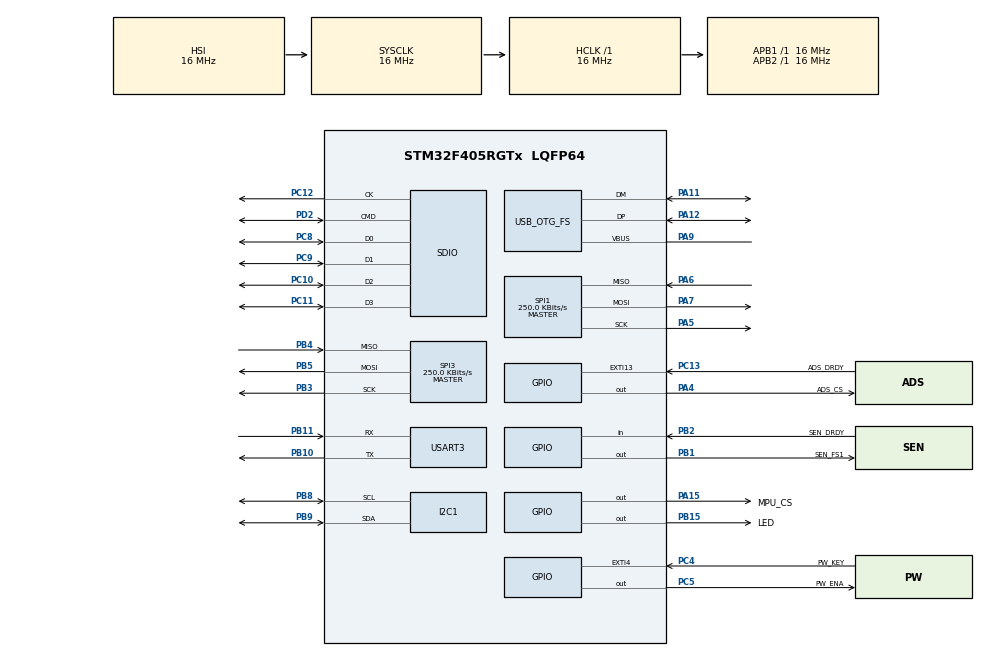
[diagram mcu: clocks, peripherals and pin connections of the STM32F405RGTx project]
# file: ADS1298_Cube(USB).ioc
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FATFS._USE_BUFF_WO_ALIGNMENT=2
FATFS._USE_ERASE=0
I2C1.DutyCycle=I2C_DUTYCYCLE_2
Mcu.Family=STM32F4
Mcu.Name=STM32F405RGTx
Mcu.Package=LQFP64
NVIC.EXTI15_10_IRQn=true\:0\:0\:false\:false\:true
NVIC.EXTI4_IRQn=true\:0\:0\:false\:false\:true
NVIC.OTG_FS_IRQn=true\:0\:0\:false\:false\:true
NVIC.PriorityGroup=NVIC_PRIORITYGROUP_4
PA11.Mode=Device_Only
PA11.Signal=USB_OTG_FS_DM
PA12.Mode=Device_Only
PA12.Signal=USB_OTG_FS_DP
PA15.GPIO_Label=MPU_CS
PA15.PinState=GPIO_PIN_SET
PA15.Signal=GPIO_Output
PA4.GPIO_Label=ADS_CS
PA4.PinState=GPIO_PIN_SET
PA4.Signal=GPIO_Output
PA5.Mode=Full_Duplex_Master
PA5.Signal=SPI1_SCK
PA6.Mode=Full_Duplex_Master
PA6.Signal=SPI1_MISO
PA7.Mode=Full_Duplex_Master
PA7.Signal=SPI1_MOSI
PA9.Mode=Activate_VBUS
PA9.Signal=USB_OTG_FS_VBUS
PB1.GPIO_Label=SEN_FS1
PB1.GPIO_PuPd=GPIO_PULLDOWN
PB1.Signal=GPIO_Output
PB10.Mode=Asynchronous
PB10.Signal=USART3_TX
PB11.Mode=Asynchronous
PB11.Signal=USART3_RX
PB15.GPIO_Label=LED
PB15.Signal=GPIO_Output
PB2.GPIO_Label=SEN_DRDY
PB2.Signal=GPIO_Input
PB3.Mode=Full_Duplex_Master
PB3.Signal=SPI3_SCK
PB4.Mode=Full_Duplex_Master
PB4.Signal=SPI3_MISO
PB5.Mode=Full_Duplex_Master
PB5.Signal=SPI3_MOSI
PB8.Mode=I2C
PB8.Signal=I2C1_SCL
PB9.Mode=I2C
PB9.Signal=I2C1_SDA
PC10.Mode=SD_4_bits_Wide_bus
PC10.Signal=SDIO_D2
PC11.Mode=SD_4_bits_Wide_bus
PC11.Signal=SDIO_D3
PC12.Mode=SD_4_bits_Wide_bus
PC12.Signal=SDIO_CK
PC13-ANTI_TAMP.GPIO_Label=ADS_DRDY
PC13-ANTI_TAMP.GPIO_PuPd=GPIO_PULLDOWN
PC13-ANTI_TAMP.Signal=GPXTI13
PC4.GPIO_Label=PW_KEY
PC4.Signal=GPXTI4
PC5.GPIO_Label=PW_ENA
PC5.PinState=GPIO_PIN_SET
PC5.Signal=GPIO_Output
PC8.Mode=SD_4_bits_Wide_bus
PC8.Signal=SDIO_D0
PC9.Mode=SD_4_bits_Wide_bus
PC9.Signal=SDIO_D1
PD2.Mode=SD_4_bits_Wide_bus
PD2.Signal=SDIO_CMD
PH0-OSC_IN.Mode=HSE-External-Oscillator
PH0-OSC_IN.Signal=RCC_OSC_IN
PH1-OSC_OUT.Mode=HSE-External-Oscillator
PH1-OSC_OUT.Signal=RCC_OSC_OUT
ProjectManager.HeapSize=0x200
ProjectManager.StackSize=0x400
ProjectManager.TargetToolchain=MDK-ARM V5
RCC.48MHZClocksFreq_Value=48000000
RCC.AHBCLKDivider=RCC_SYSCLK_DIV1
RCC.AHBFreq_Value=16000000
RCC.APB1CLKDivider=RCC_HCLK_DIV1
RCC.APB1Freq_Value=16000000
RCC.APB1TimFreq_Value=16000000
RCC.APB2CLKDivider=RCC_HCLK_DIV1
RCC.APB2Freq_Value=16000000
RCC.APB2TimFreq_Value=16000000
RCC.ClockTypeHCLK=RCC_CLOCKTYPE_HCLK
RCC.ClockTypePCLK1=RCC_CLOCKTYPE_PCLK1
RCC.ClockTypePCLK2=RCC_CLOCKTYPE_PCLK2
RCC.ClockTypeSysClk=RCC_CLOCKTYPE_SYSCLK
RCC.CortexFreq_Value=16000000
RCC.Cortex_Div=SYSTICK_CLKSOURCE_HCLK
RCC.DATA_CACHE_ENABLE=1
RCC.EnableExtClockForI2S=false
RCC.EnableHSE=true
RCC.EnableHSERTCDevisor=false
RCC.EnableLSE=false
RCC.EnableLSERTC=false
RCC.ExtClockEnable=false
RCC.FLatency=FLASH_LATENCY_0
RCC.HCLKFreq_Value=16000000
RCC.HSEState=RCC_HSE_ON
RCC.HSE_VALUE=16000000
RCC.HSIState=RCC_HSI_ON
RCC.HSI_VALUE=16000000
RCC.I2SEnable=false
RCC.INSTRUCTION_CACHE_ENABLE=1
RCC.IWDGEnable=false
RCC.LSE_VALUE=32768
RCC.LSIState=RCC_LSI_OFF
RCC.MCO1OutPutEnable=false
RCC.MCO2OutPutEnable=false
RCC.OscillatorTypeHSE=RCC_OSCILLATORTYPE_HSE
RCC.OscillatorTypeHSI=RCC_OSCILLATORTYPE_HSI
RCC.PLLM=8
RCC.PLLN=72
RCC.PLLP=RCC_PLLP_DIV2
RCC.PLLQ=3
RCC.PLLSource=RCC_PLLSOURCE_HSE
RCC.PLLSourceVirtual=RCC_PLLSOURCE_HSE
RCC.PLLState=RCC_PLL_ON
RCC.PREFETCH_ENABLE=1
RCC.PWR_Regulator_Voltage_Scale=PWR_REGULATOR_VOLTAGE_SCALE1
RCC.RCC_MCODiv1=RCC_MCODIV_1
RCC.RCC_MCODiv2=RCC_MCODIV_1
RCC.RCC_RTC_Clock_Source_FROM_HSE=RCC_RTCCLKSOURCE_HSE_DIV2
RCC.RNGEnable=false
RCC.RTCEnable=false
RCC.SDIOEnable=true
RCC.SYSCLKFreq_VALUE=16000000
RCC.SYSCLKSource=RCC_SYSCLKSOURCE_HSI
RCC.USBFSEnable=true
RCC.USBHSEnable=false
RCC.VCOOutputFreq_Value=144000000
SDIO.BusWide=SDIO_BUS_WIDE_1B
SDIO.ClockBypass=SDIO_CLOCK_BYPASS_DISABLE
SDIO.ClockDiv=12
SDIO.ClockEdge=SDIO_CLOCK_EDGE_RISING
SDIO.ClockPowerSave=SDIO_CLOCK_POWER_SAVE_DISABLE
SDIO.HardwareFlowControl=SDIO_HARDWARE_FLOW_CONTROL_DISABLE
SDIO.WideMode=SDIO_BUS_WIDE_4B
SPI1.BaudRatePrescaler=SPI_BAUDRATEPRESCALER_64
SPI1.CLKPhase=SPI_PHASE_2EDGE
SPI1.CRCPolynomial=10
SPI1.CalculateBaudRate=250.0 KBits/s
SPI1.Direction=SPI_DIRECTION_2LINES
SPI1.Mode=SPI_MODE_MASTER
SPI1.VirtualType=VM_MASTER
SPI3.BaudRatePrescaler=SPI_BAUDRATEPRESCALER_64
SPI3.CLKPhase=SPI_PHASE_1EDGE
SPI3.CRCPolynomial=10
SPI3.CalculateBaudRate=250.0 KBits/s
SPI3.Direction=SPI_DIRECTION_2LINES
SPI3.Mode=SPI_MODE_MASTER
SPI3.VirtualType=VM_MASTER
USART3.HwFlowCtl-Asynchronous=UART_HWCONTROL_NONE
USART3.VirtualMode=VM_ASYNC
USB_DEVICE.CLASS_NAME_FS=CDC
USB_DEVICE.MANUFACTURER_STRING-CDC_FS=GalvaniBionix
USB_DEVICE.PRODUCT_STRING_CDC_FS=ADS1298
USB_DEVICE.USBD_HandleTypeDef_FS=hUsbDevice_OTG_FS
USB_DEVICE.VirtualModeFS=Cdc_FS
USB_OTG_FS.VirtualMode=Device_Only
USB_OTG_FS.dev_endpoints=4
USB_OTG_FS.phy_itface=PCD_PHY_EMBEDDED
VP_FATFS_VS_SDIO.Mode=SDIO
VP_USB_DEVICE_VS_USB_DEVICE_CDC_FS.Mode=CDC_FS
board=ADS1298_Cube(USB)

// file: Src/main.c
/**
  ******************************************************************************
  * File Name          : main.c
  * Description        : Main program body
  ******************************************************************************
  *
  * Copyright (c) 2017 STMicroelectronics International N.V.
  * All rights reserved.
  *
  * Redistribution and use in source and binary forms, with or without
  * modification, are permitted, provided that the following conditions are met:
  *
  * 1. Redistribution of source code must retain the above copyright notice,
  *    this list of conditions and the following disclaimer.
  * 2. Redistributions in binary form must reproduce the above copyright notice,
  *    this list of conditions and the following disclaimer in the documentation
  *    and/or other materials provided with the distribution.
  * 3. Neither the name of STMicroelectronics nor the names of other
  *    contributors to this software may be used to endorse or promote products
  *    derived from this software without specific written permission.
  * 4. This software, including modifications and/or derivative works of this
  *    software, must execute solely and exclusively on microcontroller or
  *    microprocessor devices manufactured by or for STMicroelectronics.
  * 5. Redistribution and use of this software other than as permitted under
  *    this license is void and will automatically terminate your rights under
  *    this license.
  *
  * THIS SOFTWARE IS PROVIDED BY STMICROELECTRONICS AND CONTRIBUTORS "AS IS"
  * AND ANY EXPRESS, IMPLIED OR STATUTORY WARRANTIES, INCLUDING, BUT NOT
  * LIMITED TO, THE IMPLIED WARRANTIES OF MERCHANTABILITY, FITNESS FOR A
  * PARTICULAR PURPOSE AND NON-INFRINGEMENT OF THIRD PARTY INTELLECTUAL PROPERTY
  * RIGHTS ARE DISCLAIMED TO THE FULLEST EXTENT PERMITTED BY LAW. IN NO EVENT
  * SHALL STMICROELECTRONICS OR CONTRIBUTORS BE LIABLE FOR ANY DIRECT, INDIRECT,
  * INCIDENTAL, SPECIAL, EXEMPLARY, OR CONSEQUENTIAL DAMAGES (INCLUDING, BUT NOT
  * LIMITED TO, PROCUREMENT OF SUBSTITUTE GOODS OR SERVICES; LOSS OF USE, DATA,
  * OR PROFITS; OR BUSINESS INTERRUPTION) HOWEVER CAUSED AND ON ANY THEORY OF
  * LIABILITY, WHETHER IN CONTRACT, STRICT LIABILITY, OR TORT (INCLUDING
  * NEGLIGENCE OR OTHERWISE) ARISING IN ANY WAY OUT OF THE USE OF THIS SOFTWARE,
  * EVEN IF ADVISED OF THE POSSIBILITY OF SUCH DAMAGE.
  *
  ******************************************************************************
  */
#include "main.h"
#include "stm32f4xx_hal.h"
#include "fatfs.h"
#include "usb_device.h"

/* USER CODE BEGIN Includes */

#include "usbd_cdc_if.h"

#include "ADS1298.h"
#include "MPU9250.h"
#include "BME280.h"
//#include "esp8266.h"
#include "microSD.h"

#include "stdbool.h"

/************************/
// usbd_cdc.h
//#define CDC_DATA_HS_MAX_PACKET_SIZE 64
/**********************/

/* USER CODE END Includes */

I2C_HandleTypeDef hi2c1;

SD_HandleTypeDef hsd;

SPI_HandleTypeDef hspi1;
SPI_HandleTypeDef hspi3;

UART_HandleTypeDef huart3;

/* USER CODE BEGIN PV */
/* Private variables ---------------------------------------------------------*/

bool verbose = false;		// turn on/off Serial feedback

bool startAcq = false;

volatile uint32_t timerPowerDown = 0;

/* USER CODE END PV */

void SystemClock_Config(void);
void Error_Handler(void);
static void MX_GPIO_Init(void);
static void MX_SPI1_Init(void);
static void MX_SPI3_Init(void);
static void MX_I2C1_Init(void);
static void MX_SDIO_SD_Init(void);
static void MX_USART3_UART_Init(void);

/* USER CODE BEGIN PFP */
/* Private function prototypes -----------------------------------------------*/

void USB_Print(unsigned char* s);
void USB_SendBits(uint8_t b);
void USB_SendNumber(int32_t num);

void USART_Send(uint8_t* cmd);
void USART_Send2Byte(uint8_t* fb);
void USART_Send4Byte(uint8_t* fb);

void USB_SendByte( uint8_t* fb);
void USB_Send2Byte(uint8_t* fb);
void USB_Send3Byte(uint8_t* fb);
void USB_Send4Byte(uint8_t* fb);

uint8_t transferSPI(uint8_t send);
uint8_t transferMPU(uint8_t send);

/* USER CODE END PFP */

int main(void)
{

  /* MCU Configuration----------------------------------------------------------*/

  /* Reset of all peripherals, Initializes the Flash interface and the Systick. */
  HAL_Init();

  /* Configure the system clock */
  SystemClock_Config();

  /* Initialize all configured peripherals */
  MX_GPIO_Init();
  MX_USB_DEVICE_Init();
  MX_SPI1_Init();
  MX_SPI3_Init();
  MX_I2C1_Init();
  MX_SDIO_SD_Init();
  MX_FATFS_Init();
  MX_USART3_UART_Init();

  /* USER CODE BEGIN 2 */
	HAL_GPIO_WritePin(LED_GPIO_Port, LED_Pin, GPIO_PIN_SET);

	HAL_Delay(500);

	ADS_Init();
	MPU_Init();
	BME_Init();

	//SD_Init();

  /* USER CODE END 2 */

  /* Infinite loop */
  /* USER CODE BEGIN WHILE */
	//HAL_UART_Receive_IT(&huart3, &ansESP,1);

	while (1)
  {
  /* USER CODE END WHILE */

  /* USER CODE BEGIN 3 */

		 // ------- Next for work mode ---------
		if(startAcq){
			startAcq = false;

			MPU_ReadAcc(); // Read Ax Ay Az from MPU9250
			BME_readData();

			//writeSD();

			BME_SendData();
			MPU_SendData();
		}

		if(intDRDY){
			startAcq = true;
			intDRDY = false;
			//ADS_updateChannelData();
			ADS_RDATA();
			ADS_SendData();
			ADS_START();
		}

  }
  /* USER CODE END 3 */

}

/** System Clock Configuration
*/
void SystemClock_Config(void)
{

  RCC_OscInitTypeDef RCC_OscInitStruct;
  RCC_ClkInitTypeDef RCC_ClkInitStruct;

    /**Configure the main internal regulator output voltage
    */
  __HAL_RCC_PWR_CLK_ENABLE();

  __HAL_PWR_VOLTAGESCALING_CONFIG(PWR_REGULATOR_VOLTAGE_SCALE1);

    /**Initializes the CPU, AHB and APB busses clocks
    */
  RCC_OscInitStruct.OscillatorType = RCC_OSCILLATORTYPE_HSI|RCC_OSCILLATORTYPE_HSE;
  RCC_OscInitStruct.HSEState = RCC_HSE_ON;
  RCC_OscInitStruct.HSIState = RCC_HSI_ON;
  RCC_OscInitStruct.HSICalibrationValue = 16;
  RCC_OscInitStruct.PLL.PLLState = RCC_PLL_ON;
  RCC_OscInitStruct.PLL.PLLSource = RCC_PLLSOURCE_HSE;
  RCC_OscInitStruct.PLL.PLLM = 8;
  RCC_OscInitStruct.PLL.PLLN = 72;
  RCC_OscInitStruct.PLL.PLLP = RCC_PLLP_DIV2;
  RCC_OscInitStruct.PLL.PLLQ = 3;
  if (HAL_RCC_OscConfig(&RCC_OscInitStruct) != HAL_OK)
  {
    Error_Handler();
  }

    /**Initializes the CPU, AHB and APB busses clocks
    */
  RCC_ClkInitStruct.ClockType = RCC_CLOCKTYPE_HCLK|RCC_CLOCKTYPE_SYSCLK
                              |RCC_CLOCKTYPE_PCLK1|RCC_CLOCKTYPE_PCLK2;
  RCC_ClkInitStruct.SYSCLKSource = RCC_SYSCLKSOURCE_HSI;
  RCC_ClkInitStruct.AHBCLKDivider = RCC_SYSCLK_DIV1;
  RCC_ClkInitStruct.APB1CLKDivider = RCC_HCLK_DIV1;
  RCC_ClkInitStruct.APB2CLKDivider = RCC_HCLK_DIV1;

  if (HAL_RCC_ClockConfig(&RCC_ClkInitStruct, FLASH_LATENCY_0) != HAL_OK)
  {
    Error_Handler();
  }

    /**Configure the Systick interrupt time
    */
  HAL_SYSTICK_Config(HAL_RCC_GetHCLKFreq()/1000);

    /**Configure the Systick
    */
  HAL_SYSTICK_CLKSourceConfig(SYSTICK_CLKSOURCE_HCLK);

  /* SysTick_IRQn interrupt configuration */
  HAL_NVIC_SetPriority(SysTick_IRQn, 0, 0);
}

/* I2C1 init function */
static void MX_I2C1_Init(void)
{

  hi2c1.Instance = I2C1;
  hi2c1.Init.ClockSpeed = 100000;
  hi2c1.Init.DutyCycle = I2C_DUTYCYCLE_2;
  hi2c1.Init.OwnAddress1 = 0;
  hi2c1.Init.AddressingMode = I2C_ADDRESSINGMODE_7BIT;
  hi2c1.Init.DualAddressMode = I2C_DUALADDRESS_DISABLE;
  hi2c1.Init.OwnAddress2 = 0;
  hi2c1.Init.GeneralCallMode = I2C_GENERALCALL_DISABLE;
  hi2c1.Init.NoStretchMode = I2C_NOSTRETCH_DISABLE;
  if (HAL_I2C_Init(&hi2c1) != HAL_OK)
  {
    Error_Handler();
  }

}

/* SDIO init function */
static void MX_SDIO_SD_Init(void)
{

  hsd.Instance = SDIO;
  hsd.Init.ClockEdge = SDIO_CLOCK_EDGE_RISING;
  hsd.Init.ClockBypass = SDIO_CLOCK_BYPASS_DISABLE;
  hsd.Init.ClockPowerSave = SDIO_CLOCK_POWER_SAVE_DISABLE;
  hsd.Init.BusWide = SDIO_BUS_WIDE_1B;
  hsd.Init.HardwareFlowControl = SDIO_HARDWARE_FLOW_CONTROL_DISABLE;
  hsd.Init.ClockDiv = 13;

}

/* SPI1 init function */
static void MX_SPI1_Init(void)
{

  hspi1.Instance = SPI1;
  hspi1.Init.Mode = SPI_MODE_MASTER;
  hspi1.Init.Direction = SPI_DIRECTION_2LINES;
  hspi1.Init.DataSize = SPI_DATASIZE_8BIT;
  hspi1.Init.CLKPolarity = SPI_POLARITY_LOW;
  hspi1.Init.CLKPhase = SPI_PHASE_2EDGE;
  hspi1.Init.NSS = SPI_NSS_SOFT;
  hspi1.Init.BaudRatePrescaler = SPI_BAUDRATEPRESCALER_2;
  hspi1.Init.FirstBit = SPI_FIRSTBIT_MSB;
  hspi1.Init.TIMode = SPI_TIMODE_DISABLE;
  hspi1.Init.CRCCalculation = SPI_CRCCALCULATION_DISABLE;
  hspi1.Init.CRCPolynomial = 10;
  if (HAL_SPI_Init(&hspi1) != HAL_OK)
  {
    Error_Handler();
  }

}

/* SPI3 init function */
static void MX_SPI3_Init(void)
{

  hspi3.Instance = SPI3;
  hspi3.Init.Mode = SPI_MODE_MASTER;
  hspi3.Init.Direction = SPI_DIRECTION_2LINES;
  hspi3.Init.DataSize = SPI_DATASIZE_8BIT;
  hspi3.Init.CLKPolarity = SPI_POLARITY_LOW;
  hspi3.Init.CLKPhase = SPI_PHASE_1EDGE;
  hspi3.Init.NSS = SPI_NSS_SOFT;
  hspi3.Init.BaudRatePrescaler = SPI_BAUDRATEPRESCALER_2;
  hspi3.Init.FirstBit = SPI_FIRSTBIT_MSB;
  hspi3.Init.TIMode = SPI_TIMODE_DISABLE;
  hspi3.Init.CRCCalculation = SPI_CRCCALCULATION_DISABLE;
  hspi3.Init.CRCPolynomial = 10;
  if (HAL_SPI_Init(&hspi3) != HAL_OK)
  {
    Error_Handler();
  }

}

/* USART3 init function */
static void MX_USART3_UART_Init(void)
{

  huart3.Instance = USART3;
  huart3.Init.BaudRate = 460800;
  huart3.Init.WordLength = UART_WORDLENGTH_8B;
  huart3.Init.StopBits = UART_STOPBITS_1;
  huart3.Init.Parity = UART_PARITY_NONE;
  huart3.Init.Mode = UART_MODE_TX_RX;
  huart3.Init.HwFlowCtl = UART_HWCONTROL_NONE;
  huart3.Init.OverSampling = UART_OVERSAMPLING_16;
  if (HAL_UART_Init(&huart3) != HAL_OK)
  {
    Error_Handler();
  }

}

/** Configure pins as
        * Analog
        * Input
        * Output
        * EVENT_OUT
        * EXTI
*/
static void MX_GPIO_Init(void)
{

  GPIO_InitTypeDef GPIO_InitStruct;

  /* GPIO Ports Clock Enable */
  __HAL_RCC_GPIOC_CLK_ENABLE();
  __HAL_RCC_GPIOH_CLK_ENABLE();
  __HAL_RCC_GPIOA_CLK_ENABLE();
  __HAL_RCC_GPIOB_CLK_ENABLE();
  __HAL_RCC_GPIOD_CLK_ENABLE();

  /*Configure GPIO pin Output Level */
  HAL_GPIO_WritePin(GPIOA, ADS_CS_Pin|MPU_CS_Pin, GPIO_PIN_SET);

  /*Configure GPIO pin Output Level */
  HAL_GPIO_WritePin(PW_ENA_GPIO_Port, PW_ENA_Pin, GPIO_PIN_SET);

  /*Configure GPIO pin Output Level */
  HAL_GPIO_WritePin(GPIOB, SEN_FS1_Pin|LED_Pin, GPIO_PIN_RESET);

  /*Configure GPIO pin : ADS_DRDY_Pin */
  GPIO_InitStruct.Pin = ADS_DRDY_Pin;
  GPIO_InitStruct.Mode = GPIO_MODE_IT_RISING;
  GPIO_InitStruct.Pull = GPIO_PULLDOWN;
  HAL_GPIO_Init(ADS_DRDY_GPIO_Port, &GPIO_InitStruct);

  /*Configure GPIO pins : ADS_CS_Pin MPU_CS_Pin */
  GPIO_InitStruct.Pin = ADS_CS_Pin|MPU_CS_Pin;
  GPIO_InitStruct.Mode = GPIO_MODE_OUTPUT_PP;
  GPIO_InitStruct.Pull = GPIO_NOPULL;
  GPIO_InitStruct.Speed = GPIO_SPEED_FREQ_LOW;
  HAL_GPIO_Init(GPIOA, &GPIO_InitStruct);

  /*Configure GPIO pin : PW_KEY_Pin */
  GPIO_InitStruct.Pin = PW_KEY_Pin;
  GPIO_InitStruct.Mode = GPIO_MODE_IT_RISING_FALLING;
  GPIO_InitStruct.Pull = GPIO_NOPULL;
  HAL_GPIO_Init(PW_KEY_GPIO_Port, &GPIO_InitStruct);

  /*Configure GPIO pin : PW_ENA_Pin */
  GPIO_InitStruct.Pin = PW_ENA_Pin;
  GPIO_InitStruct.Mode = GPIO_MODE_OUTPUT_PP;
  GPIO_InitStruct.Pull = GPIO_NOPULL;
  GPIO_InitStruct.Speed = GPIO_SPEED_FREQ_LOW;
  HAL_GPIO_Init(PW_ENA_GPIO_Port, &GPIO_InitStruct);

  /*Configure GPIO pin : SEN_FS1_Pin */
  GPIO_InitStruct.Pin = SEN_FS1_Pin;
  GPIO_InitStruct.Mode = GPIO_MODE_OUTPUT_PP;
  GPIO_InitStruct.Pull = GPIO_PULLDOWN;
  GPIO_InitStruct.Speed = GPIO_SPEED_FREQ_LOW;
  HAL_GPIO_Init(SEN_FS1_GPIO_Port, &GPIO_InitStruct);

  /*Configure GPIO pin : SEN_DRDY_Pin */
  GPIO_InitStruct.Pin = SEN_DRDY_Pin;
  GPIO_InitStruct.Mode = GPIO_MODE_INPUT;
  GPIO_InitStruct.Pull = GPIO_NOPULL;
  HAL_GPIO_Init(SEN_DRDY_GPIO_Port, &GPIO_InitStruct);

  /*Configure GPIO pin : LED_Pin */
  GPIO_InitStruct.Pin = LED_Pin;
  GPIO_InitStruct.Mode = GPIO_MODE_OUTPUT_PP;
  GPIO_InitStruct.Pull = GPIO_NOPULL;
  GPIO_InitStruct.Speed = GPIO_SPEED_FREQ_LOW;
  HAL_GPIO_Init(LED_GPIO_Port, &GPIO_InitStruct);

  /* EXTI interrupt init*/
  HAL_NVIC_SetPriority(EXTI4_IRQn, 0, 0);
  HAL_NVIC_EnableIRQ(EXTI4_IRQn);

  HAL_NVIC_SetPriority(EXTI15_10_IRQn, 0, 0);
  HAL_NVIC_EnableIRQ(EXTI15_10_IRQn);

}

/* USER CODE BEGIN 4 */

//======== USB =======
void USB_Print(unsigned char* s){
	uint8_t* ptr = s;
	int i = 0;
	while(*s++)
		i++;
	/*
	if(HAL_GPIO_ReadPin(GPIOA,GPIO_PIN_9) == GPIO_PIN_SET )
		while( CDC_Transmit_FS(ptr,i) == USBD_BUSY);
	*/

	while( (HAL_GPIO_ReadPin(GPIOA,GPIO_PIN_9) == GPIO_PIN_SET) && (CDC_Transmit_FS(ptr,i) == USBD_BUSY));
}

void USB_SendBits(uint8_t b){
	int _i = 0;
	uint8_t buf[8];

	if(HAL_GPIO_ReadPin(GPIOA,GPIO_PIN_9) == GPIO_PIN_SET )
		USB_Print("0b");

	for(_i = 7; _i >= 0; _i--){
		if( (b >> _i) & 0x01)
			buf[7-_i] = 49;
		else
			buf[7-_i] = 48;
	}

	while( (HAL_GPIO_ReadPin(GPIOA,GPIO_PIN_9) == GPIO_PIN_SET) && (CDC_Transmit_FS(buf,8) == USBD_BUSY));

}

void USB_SendNumber(int32_t x){
	uint8_t value[10]; //a temp array to hold results of conversion
  int i = 0, k = 0; //loop index

  do
  {
    value[i++] = (char)(x % 10) + '0'; //convert integer to character
		x /= 10;
  } while(x);

	for(k = i - 1; k >= 0; k--){
		while( (HAL_GPIO_ReadPin(GPIOA,GPIO_PIN_9) == GPIO_PIN_SET) && (CDC_Transmit_FS(&value[k],1) == USBD_BUSY));
	}
}

void USB_SendByte(uint8_t* fb){
	while( (HAL_GPIO_ReadPin(GPIOA,GPIO_PIN_9) == GPIO_PIN_SET) && (CDC_Transmit_FS(fb,sizeof(int8_t)) == USBD_BUSY));
}

void USB_Send2Byte(uint8_t* fb){
	while( (HAL_GPIO_ReadPin(GPIOA,GPIO_PIN_9) == GPIO_PIN_SET) && (CDC_Transmit_FS(fb,2*sizeof(int8_t)) == USBD_BUSY));
}

void USB_Send3Byte(uint8_t* fb){
	while( (HAL_GPIO_ReadPin(GPIOA,GPIO_PIN_9) == GPIO_PIN_SET) && (CDC_Transmit_FS(fb,3*sizeof(int8_t)) == USBD_BUSY));
}

void USB_Send4Byte(uint8_t* fb){
		while( (HAL_GPIO_ReadPin(GPIOA,GPIO_PIN_9) == GPIO_PIN_SET) && (CDC_Transmit_FS(fb,sizeof(int32_t)) == USBD_BUSY));
}

//======== SPI =======
uint8_t transferMPU(uint8_t send){
	uint8_t rx = 0x00;

	HAL_SPI_TransmitReceive(&hspi3, &send, &rx, sizeof(rx),0x1000);

	return rx;
}

uint8_t transferSPI(uint8_t send){
	uint8_t rx = 0x00;

	HAL_SPI_TransmitReceive(&hspi1, &send, &rx, sizeof(rx),0x1000);

	return rx;
}

//======== USART =======
void USART_Send(uint8_t* cmd){
	uint8_t* ptr = cmd;
	int size = 0;

	while(*cmd++)
		size++;

	//while( HAL_UART_Transmit(&huart3, ptr, size, 0x1000) != HAL_OK);
	HAL_UART_Transmit(&huart3, ptr, size, 0x1000);

	if(verbose){
		USB_Print("Cmd: ");
		USB_Print(ptr);
	}
}

void USART_Send2Byte(uint8_t* fb){
	//while( HAL_UART_Transmit(&huart3, fb, sizeof(int32_t), 0x1000) != HAL_OK);
	HAL_UART_Transmit(&huart3, fb, 2*sizeof(int8_t), 0x1000);
	USART_Send("\r\n");
}

void USART_Send4Byte(uint8_t* fb){
	//while( HAL_UART_Transmit(&huart3, fb, sizeof(int32_t), 0x1000) != HAL_OK);
	HAL_UART_Transmit(&huart3, fb, sizeof(int32_t), 0x1000);
	USART_Send("\r\n");
}

/* --------------- Inetrrupts ------------------------------------------*/
void HAL_GPIO_EXTI_Callback(uint16_t GPIO_Pin){
	if(GPIO_Pin == GPIO_PIN_13){
		intDRDY = true;
	}
	if(GPIO_Pin == PW_KEY_Pin){
		if(HAL_GPIO_ReadPin(PW_KEY_GPIO_Port, PW_KEY_Pin) == GPIO_PIN_SET)
			timerPowerDown = HAL_GetTick();
		if(HAL_GPIO_ReadPin(PW_KEY_GPIO_Port, PW_KEY_Pin) == GPIO_PIN_RESET){
			if( HAL_GetTick() - timerPowerDown > 1000)
				HAL_GPIO_WritePin(PW_ENA_GPIO_Port, PW_ENA_Pin, GPIO_PIN_RESET);
		}
	}

}

void HAL_UART_RxCpltCallback(UART_HandleTypeDef *huart){
	if(huart == &huart3){
		// If you use esp8266.c uncomment this
		//addRingBuffer(ansESP);
		//HAL_UART_Receive_IT(&huart3, &ansESP, 1);
	}
}

void HAL_UART_ErrorCallback(UART_HandleTypeDef *huart){

}
/* USER CODE END 4 */

void Error_Handler(void)
{
  while(1)
  {
  }
}

/************************ (C) COPYRIGHT STMicroelectronics *****END OF FILE****/
